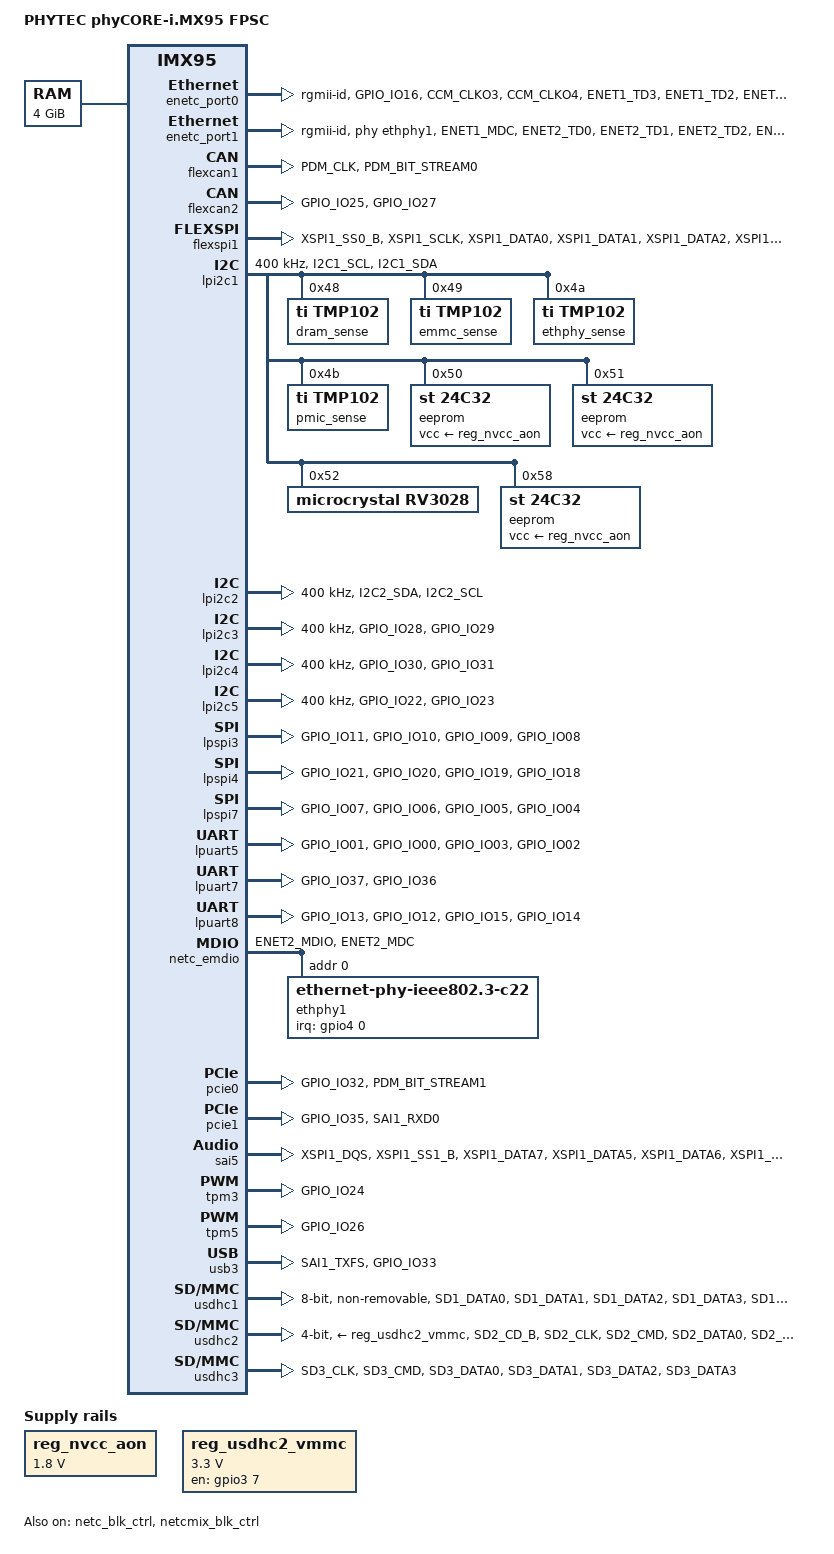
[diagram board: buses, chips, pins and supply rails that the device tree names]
// SPDX-License-Identifier: (GPL-2.0+ OR MIT)
/*
 * Copyright 2025 PHYTEC Messtechnik GmbH
 */

#include <dt-bindings/net/ti-dp83867.h>
#include "imx95.dtsi"

/ {
	model = "PHYTEC phyCORE-i.MX95 FPSC";
	compatible = "phytec,imx95-phycore-fpsc", "fsl,imx95";

	aliases {
		ethernet1 = &enetc_port1;
		i2c1 = &lpi2c2;
		i2c2 = &lpi2c5;
		i2c3 = &lpi2c3;
		i2c4 = &lpi2c4;
		i2c5 = &lpi2c1;
		rtc0 = &rv3028;
		rtc1 = &scmi_bbm;
	};

	memory@80000000 {
		device_type = "memory";
		reg = <0x00000000 0x80000000 0x00000001 0x00000000>;
	};

	reg_nvcc_aon: regulator-nvcc-aon {
		compatible = "regulator-fixed";
		regulator-always-on;
		regulator-boot-on;
		regulator-max-microvolt = <1800000>;
		regulator-min-microvolt = <1800000>;
		regulator-name = "VDD_IO";
	};

	reg_usdhc2_vmmc: regulator-usdhc2 {
		compatible = "regulator-fixed";
		off-on-delay-us = <12000>;
		pinctrl-0 = <&pinctrl_reg_usdhc2_vmmc>;
		pinctrl-names = "default";
		regulator-max-microvolt = <3300000>;
		regulator-min-microvolt = <3300000>;
		regulator-name = "VDDSW_SD2";
		gpio = <&gpio3 7 GPIO_ACTIVE_HIGH>;
		enable-active-high;
	};

	reserved-memory {
		ranges;
		#address-cells = <2>;
		#size-cells = <2>;

		linux,cma {
			compatible = "shared-dma-pool";
			alloc-ranges = <0 0x80000000 0 0x7f000000>;
			reusable;
			size = <0 0x3c000000>;
			linux,cma-default;
		};
	};
};

&enetc_port0 { /* FPSC RGMII2 */
	phy-mode = "rgmii-id";
	pinctrl-0 = <&pinctrl_enetc0>;
	pinctrl-names = "default";
};

&enetc_port1 {
	phy-handle = <&ethphy1>;
	phy-mode = "rgmii-id";
	pinctrl-0 = <&pinctrl_enetc1>;
	pinctrl-names = "default";
	status = "okay";
};

&flexcan1 { /* FPSC CAN1 */
	pinctrl-0 = <&pinctrl_flexcan1>;
	pinctrl-names = "default";
};

&flexcan2 { /* FPSC CAN2 */
	pinctrl-0 = <&pinctrl_flexcan2>;
	pinctrl-names = "default";
};

&flexspi1 { /* FPSC QSPI */
	pinctrl-0 = <&pinctrl_flexspi>;
	pinctrl-names = "default";
};

&gpio1 { /* FPSC GPIO */
	gpio-line-names = "", "", "", "", "GPIO2",
			  "GPIO1", "", "", "", "",
			  "PCIE1_nPERST", "USB1_PWR_EN", "GPIO3", "USB2_PWR_EN", "PCIE2_nPERST";
	pinctrl-0 = <&pinctrl_gpio1>;
	pinctrl-names = "default";
	status = "okay";
};

&gpio2 { /* FPSC GPIO */
	gpio-line-names = "", "", "", "", "",
			  "", "", "", "", "",
			  "", "", "", "", "",
			  "", "RGMII2_nINT", "GPIO4";
	pinctrl-0 = <&pinctrl_gpio2>;
	pinctrl-names = "default";
};

&gpio3 {
	gpio-line-names = "", "", "", "", "",
			  "", "", "SD2_RESET_B";
};

&gpio4 {
	gpio-line-names = "ENET2_nINT";
};

&gpio5 {
	gpio-line-names = "", "", "", "", "",
			  "", "", "", "", "",
			  "", "", "", "USB1_OC", "USB2_OC";
};

&lpi2c1 { /* FPSC I2C5 */
	clock-frequency = <400000>;
	pinctrl-0 = <&pinctrl_lpi2c1>;
	pinctrl-names = "default";
	status = "okay";

	dram_sense: temperature-sensor@48 {
		compatible = "ti,tmp102";
		reg = <0x48>;
		#thermal-sensor-cells = <1>;
	};

	emmc_sense: temperature-sensor@49 {
		compatible = "ti,tmp102";
		reg = <0x49>;
		#thermal-sensor-cells = <1>;
	};

	ethphy_sense: temperature-sensor@4a {
		compatible = "ti,tmp102";
		reg = <0x4a>;
		#thermal-sensor-cells = <1>;
	};

	pmic_sense: temperature-sensor@4b {
		compatible = "ti,tmp102";
		reg = <0x4b>;
		#thermal-sensor-cells = <1>;
	};

	/* User EEPROM */
	eeprom@50 {
		compatible = "st,24c32", "atmel,24c32";
		reg = <0x50>;
		pagesize = <32>;
		vcc-supply = <&reg_nvcc_aon>;
	};

	/* Factory EEPROM */
	eeprom@51 {
		compatible = "st,24c32", "atmel,24c32";
		reg = <0x51>;
		pagesize = <32>;
		vcc-supply = <&reg_nvcc_aon>;
	};

	rv3028: rtc@52 {
		compatible = "microcrystal,rv3028";
		reg = <0x52>;
	};

	/* User EEPROM ID page */
	eeprom@58 {
		compatible = "st,24c32", "atmel,24c32";
		reg = <0x58>;
		pagesize = <32>;
		vcc-supply = <&reg_nvcc_aon>;
	};
};

&lpi2c2 { /* FPSC I2C1 */
	clock-frequency = <400000>;
	pinctrl-0 = <&pinctrl_lpi2c2>;
	pinctrl-names = "default";
};

&lpi2c3 { /* FPSC I2C3 */
	clock-frequency = <400000>;
	pinctrl-0 = <&pinctrl_lpi2c3>;
	pinctrl-names = "default";
};

&lpi2c4 { /* FPSC I2C4 */
	clock-frequency = <400000>;
	pinctrl-0 = <&pinctrl_lpi2c4>;
	pinctrl-names = "default";
};

&lpi2c5 { /* FPSC I2C2 */
	clock-frequency = <400000>;
	pinctrl-0 = <&pinctrl_lpi2c5>;
	pinctrl-names = "default";
};

&lpspi3 { /* FPSC SPI2 */
	pinctrl-0 = <&pinctrl_lpspi3>;
	pinctrl-names = "default";
};

&lpspi4 { /* FPSC SPI3 */
	pinctrl-0 = <&pinctrl_lpspi4>;
	pinctrl-names = "default";
};

&lpspi7 { /* FPSC SPI1 */
	pinctrl-0 = <&pinctrl_lpspi7>;
	pinctrl-names = "default";
};

&lpuart5 { /* FPSC UART2 */
	pinctrl-0 = <&pinctrl_lpuart5>;
	pinctrl-names = "default";
};

&lpuart7 { /* FPSC UART3 */
	pinctrl-0 = <&pinctrl_lpuart7>;
	pinctrl-names = "default";
};

&lpuart8 { /* FPSC UART1 */
	pinctrl-0 = <&pinctrl_lpuart8>;
	pinctrl-names = "default";
};

&netc_blk_ctrl {
	status = "okay";
};

&netc_emdio { /* FPSC RGMII2 */
	pinctrl-0 = <&pinctrl_emdio>;
	pinctrl-names = "default";
	status = "okay";

	ethphy1: ethernet-phy@0 {
		compatible = "ethernet-phy-ieee802.3-c22";
		reg = <0x0>;
		interrupt-parent = <&gpio4>;
		interrupts = <0 IRQ_TYPE_LEVEL_LOW>;
		enet-phy-lane-no-swap;
		ti,clk-output-sel = <DP83867_CLK_O_SEL_OFF>;
		ti,fifo-depth = <DP83867_PHYCR_FIFO_DEPTH_4_B_NIB>;
		ti,rx-internal-delay = <DP83867_RGMIIDCTL_2_00_NS>;
		ti,tx-internal-delay = <DP83867_RGMIIDCTL_2_00_NS>;
	};
};

&netcmix_blk_ctrl {
	status = "okay";
};

&pcie0 { /* FPSC PCIE1 */
	pinctrl-0 = <&pinctrl_pcie0>;
	pinctrl-names = "default";
};

&pcie1 { /* FPSC PCIE2 */
	pinctrl-0 = <&pinctrl_pcie1>;
	pinctrl-names = "default";
};

&sai5 {	/* FPSC SAI1 */
	pinctrl-0 = <&pinctrl_sai5>;
	pintrc-names = "default";
};

&scmi_iomuxc {
	pinctrl_emdio: emdiogrp {
		fsl,pins = <
			IMX95_PAD_ENET2_MDIO__NETCMIX_TOP_NETC_MDIO	0x97e	/* RGMII2_MDIO */
			IMX95_PAD_ENET2_MDC__NETCMIX_TOP_NETC_MDC	0x502	/* RGMII2_MDC */
		>;
	};

	pinctrl_enetc0: enetc0grp {
		fsl,pins = <
			IMX95_PAD_GPIO_IO16__GPIO2_IO_BIT16			0x31e	/* RGMII2_nINT */
			IMX95_PAD_CCM_CLKO3__NETCMIX_TOP_NETC_TMR_1588_TRIG2	0x31e	/* RGMII2_EVENT_IN */
			IMX95_PAD_CCM_CLKO4__NETCMIX_TOP_NETC_TMR_1588_PP2	0x31e	/* RGMII2_EVENT_OUT */

			IMX95_PAD_ENET1_TD3__NETCMIX_TOP_ETH0_RGMII_TD3		0x57e	/* RGMII2_TX_3 */
			IMX95_PAD_ENET1_TD2__NETCMIX_TOP_ETH0_RGMII_TD2		0x57e	/* RGMII2_TX_2 */
			IMX95_PAD_ENET1_TD1__NETCMIX_TOP_ETH0_RGMII_TD1		0x57e	/* RGMII2_TX_1 */
			IMX95_PAD_ENET1_TD0__NETCMIX_TOP_ETH0_RGMII_TD0		0x57e	/* RGMII2_TX_0 */
			IMX95_PAD_ENET1_TX_CTL__NETCMIX_TOP_ETH0_RGMII_TX_CTL	0x57e	/* RGMII2_TX_CTL */
			IMX95_PAD_ENET1_TXC__NETCMIX_TOP_ETH0_RGMII_TX_CLK	0x58e	/* RGMII2_TXC */
			IMX95_PAD_ENET1_RD3__NETCMIX_TOP_ETH0_RGMII_RD3		0x57e	/* RGMII2_RX_3 */
			IMX95_PAD_ENET1_RD2__NETCMIX_TOP_ETH0_RGMII_RD2		0x57e	/* RGMII2_RX_2 */
			IMX95_PAD_ENET1_RD1__NETCMIX_TOP_ETH0_RGMII_RD1		0x57e	/* RGMII2_RX_1 */
			IMX95_PAD_ENET1_RD0__NETCMIX_TOP_ETH0_RGMII_RD0		0x57e	/* RGMII2_RX_0 */
			IMX95_PAD_ENET1_RX_CTL__NETCMIX_TOP_ETH0_RGMII_RX_CTL	0x57e	/* RGMII2_RX_CTL */
			IMX95_PAD_ENET1_RXC__NETCMIX_TOP_ETH0_RGMII_RX_CLK	0x58e	/* RGMII2_RXC */
		>;
	};

	pinctrl_enetc1: enetc1grp {
		fsl,pins = <
			IMX95_PAD_ENET1_MDC__GPIO4_IO_BIT0			0x31e
			IMX95_PAD_ENET2_TD0__NETCMIX_TOP_ETH1_RGMII_TD0		0x57e
			IMX95_PAD_ENET2_TD1__NETCMIX_TOP_ETH1_RGMII_TD1		0x57e
			IMX95_PAD_ENET2_TD2__NETCMIX_TOP_ETH1_RGMII_TD2		0x57e
			IMX95_PAD_ENET2_TD3__NETCMIX_TOP_ETH1_RGMII_TD3		0x57e
			IMX95_PAD_ENET2_TX_CTL__NETCMIX_TOP_ETH1_RGMII_TX_CTL	0x57e
			IMX95_PAD_ENET2_TXC__NETCMIX_TOP_ETH1_RGMII_TX_CLK	0x58e
			IMX95_PAD_ENET2_RD0__NETCMIX_TOP_ETH1_RGMII_RD0		0x57e
			IMX95_PAD_ENET2_RD1__NETCMIX_TOP_ETH1_RGMII_RD1		0x57e
			IMX95_PAD_ENET2_RD2__NETCMIX_TOP_ETH1_RGMII_RD2		0x57e
			IMX95_PAD_ENET2_RD3__NETCMIX_TOP_ETH1_RGMII_RD3		0x57e
			IMX95_PAD_ENET2_RX_CTL__NETCMIX_TOP_ETH1_RGMII_RX_CTL	0x57e
			IMX95_PAD_ENET2_RXC__NETCMIX_TOP_ETH1_RGMII_RX_CLK	0x58e
		>;
	};

	pinctrl_flexcan1: flexcan1grp {
		fsl,pins = <
			IMX95_PAD_PDM_CLK__AONMIX_TOP_CAN1_TX		0x51e	/* CAN1_TX */
			IMX95_PAD_PDM_BIT_STREAM0__AONMIX_TOP_CAN1_RX	0x51e	/* CAN1_RX */
		>;
	};

	pinctrl_flexcan2: flexcan2grp {
		fsl,pins = <
			IMX95_PAD_GPIO_IO25__CAN2_TX	0x51e	/* CAN2_TX */
			IMX95_PAD_GPIO_IO27__CAN2_RX	0x51e	/* CAN2_RX */
		>;
	};

	pinctrl_flexspi: flexspigrp {
		fsl,pins = <
			IMX95_PAD_XSPI1_SS0_B__FLEXSPI1_A_SS0_B		0x3fe	/* QSPI_CE */
			IMX95_PAD_XSPI1_SCLK__FLEXSPI1_A_SCLK		0x3fe	/* QSPI_CLK */
			IMX95_PAD_XSPI1_DATA0__FLEXSPI1_A_DATA_BIT0	0x3fe	/* QSPI_DATA_0 */
			IMX95_PAD_XSPI1_DATA1__FLEXSPI1_A_DATA_BIT1	0x3fe	/* QSPI_DATA_1 */
			IMX95_PAD_XSPI1_DATA2__FLEXSPI1_A_DATA_BIT2	0x3fe	/* QSPI_DATA_2 */
			IMX95_PAD_XSPI1_DATA3__FLEXSPI1_A_DATA_BIT3	0x3fe	/* QSPI_DATA_3 */
			IMX95_PAD_XSPI1_DQS__FLEXSPI1_A_DQS		0x3fe	/* QSPI_DQS */
		>;
	};

	pinctrl_gpio1: gpio1grp {
		fsl,pins = <
			IMX95_PAD_UART1_TXD__AONMIX_TOP_GPIO1_IO_BIT5	0x31e	/* GPIO1 */
			IMX95_PAD_UART1_RXD__AONMIX_TOP_GPIO1_IO_BIT4	0x31e	/* GPIO2 */
			IMX95_PAD_SAI1_TXC__AONMIX_TOP_GPIO1_IO_BIT12	0x31e	/* GPIO3 */
		>;
	};

	pinctrl_gpio2: gpio2grp {
		fsl,pins = <
			IMX95_PAD_GPIO_IO17__GPIO2_IO_BIT17	0x31e	/* GPIO4 */
		>;
	};

	pinctrl_lpi2c1: lpi2c1grp {
		fsl,pins = <
			IMX95_PAD_I2C1_SCL__AONMIX_TOP_LPI2C1_SCL	0x40000b9e	/* I2C5_SCL */
			IMX95_PAD_I2C1_SDA__AONMIX_TOP_LPI2C1_SDA	0x40000b9e	/* I2C5_SDA */
		>;
	};

	pinctrl_lpi2c2: lpi2c2grp {
		fsl,pins = <
			IMX95_PAD_I2C2_SDA__AONMIX_TOP_LPI2C2_SDA	0x40000b9e	/* I2C1_SDA_DNU */
			IMX95_PAD_I2C2_SCL__AONMIX_TOP_LPI2C2_SCL	0x40000b9e	/* I2C1_SCL_DNU */
		>;
	};

	pinctrl_lpi2c3: lpi2c3grp {
		fsl,pins = <
			IMX95_PAD_GPIO_IO28__LPI2C3_SDA 0x40000b9e	/* I2C3_SDA */
			IMX95_PAD_GPIO_IO29__LPI2C3_SCL 0x40000b9e	/* I2C3_SCL */
		>;
	};

	pinctrl_lpi2c4: lpi2c4grp {
		fsl,pins = <
			IMX95_PAD_GPIO_IO30__LPI2C4_SDA 0x40000b9e	/* I2C4_SDA */
			IMX95_PAD_GPIO_IO31__LPI2C4_SCL 0x40000b9e	/* I2C4_SDL */
		>;
	};

	pinctrl_lpi2c5: lpi2c5grp {
		fsl,pins = <
			IMX95_PAD_GPIO_IO22__LPI2C5_SDA	0x40000b9e	/* I2C2_SDA */
			IMX95_PAD_GPIO_IO23__LPI2C5_SCL 0x40000b9e	/* I2C2_SCL */
		>;
	};

	pinctrl_lpspi3: lpspi3grp {
		fsl,pins = <
			IMX95_PAD_GPIO_IO11__LPSPI3_SCK		0x51e	/* SPI2_SCLK */
			IMX95_PAD_GPIO_IO10__LPSPI3_SOUT	0x51e	/* SPI2_MOSI */
			IMX95_PAD_GPIO_IO09__LPSPI3_SIN		0x51e	/* SPI2_MISO */
			IMX95_PAD_GPIO_IO08__LPSPI3_PCS0	0x51e	/* SPI2_CS */
		>;
	};

	pinctrl_lpspi4: lpspi4grp {
		fsl,pins = <
			IMX95_PAD_GPIO_IO21__LPSPI4_SCK		0x51e	/* SPI3_SCLK */
			IMX95_PAD_GPIO_IO20__LPSPI4_SOUT	0x51e	/* SPI3_MOSI */
			IMX95_PAD_GPIO_IO19__LPSPI4_SIN		0x51e	/* SPI3_MISO */
			IMX95_PAD_GPIO_IO18__LPSPI4_PCS0	0x51e	/* SPI3_CS */
		>;
	};

	pinctrl_lpspi7: lpspi7grp {
		fsl,pins = <
			IMX95_PAD_GPIO_IO07__LPSPI7_SCK		0x51e	/* SPI1_SCLK */
			IMX95_PAD_GPIO_IO06__LPSPI7_SOUT	0x51e	/* SPI1_MOSI */
			IMX95_PAD_GPIO_IO05__LPSPI7_SIN		0x51e	/* SPI1_MISO */
			IMX95_PAD_GPIO_IO04__LPSPI7_PCS0	0x51e	/* SPI1_CS */
		>;
	};

	pinctrl_lpuart5: lpuart5grp {
		fsl,pins = <
			IMX95_PAD_GPIO_IO01__LPUART5_RX		0x51e	/* UART2_RXD */
			IMX95_PAD_GPIO_IO00__LPUART5_TX		0x51e	/* UART2_TXD */
			IMX95_PAD_GPIO_IO03__LPUART5_RTS_B	0x51e	/* UART2_RTS */
			IMX95_PAD_GPIO_IO02__LPUART5_CTS_B	0x51e	/* UART2_CTS */
		>;
	};

	pinctrl_lpuart7: lpuart7grp {
		fsl,pins = <
			IMX95_PAD_GPIO_IO37__LPUART7_RX	0x31e	/* UART3_RXD */
			IMX95_PAD_GPIO_IO36__LPUART7_TX	0x31e	/* UART3_TXD */
		>;
	};

	pinctrl_lpuart8: lpuart8grp {
		fsl,pins = <
			IMX95_PAD_GPIO_IO13__LPUART8_RX		0x51e	/* UART1_RXD */
			IMX95_PAD_GPIO_IO12__LPUART8_TX		0x51e	/* UART1_TXD */
			IMX95_PAD_GPIO_IO15__LPUART8_RTS_B	0x51e	/* UART1_RTS */
			IMX95_PAD_GPIO_IO14__LPUART8_CTS_B	0x51e	/* UART1_CTS */
		>;
	};

	pinctrl_pcie0: pcie0grp {
		fsl,pins = <
			IMX95_PAD_GPIO_IO32__HSIOMIX_TOP_PCIE1_CLKREQ_B		0x31e	/* PCIE1_nCLKREQ */
			IMX95_PAD_PDM_BIT_STREAM1__AONMIX_TOP_GPIO1_IO_BIT10	0x31e	/* PCIE1_nPERST */
		>;
	};

	pinctrl_pcie1: pcie1grp {
		fsl,pins = <
			IMX95_PAD_GPIO_IO35__HSIOMIX_TOP_PCIE2_CLKREQ_B	0x31e	/* PCIE2_nCLKREQ */
			IMX95_PAD_SAI1_RXD0__AONMIX_TOP_GPIO1_IO_BIT14	0x31e	/* PCIE2_nPERST */
		>;
	};

	pinctrl_reg_usdhc2_vmmc: regusdhc2vmmcgrp {
		fsl,pins = <
			IMX95_PAD_SD2_RESET_B__GPIO3_IO_BIT7	0x31e
		>;
	};

	pinctrl_sai5: sai5grp {
		fsl,pins = <
			IMX95_PAD_XSPI1_DQS__SAI5_RX_SYNC		0x51e	/* SAI1_RX_SYNC */
			IMX95_PAD_XSPI1_SS1_B__SAI5_RX_BCLK		0x51e	/* SAI1_RX_BCLK */
			IMX95_PAD_XSPI1_DATA7__SAI5_RX_DATA_BIT0	0x51e	/* SAI1_RX_DATA */
			IMX95_PAD_XSPI1_DATA5__SAI5_TX_SYNC		0x51e	/* SAI1_TX_SYNC */
			IMX95_PAD_XSPI1_DATA6__SAI5_TX_BCLK		0x51e	/* SAI1_TX_BCLK */
			IMX95_PAD_XSPI1_DATA4__SAI5_TX_DATA_BIT0	0x51e	/* SAI1_TX_DATA */
		>;
	};

	pinctrl_tpm3: tpm3grp {
	      fsl,pins = <
		      IMX95_PAD_GPIO_IO24__TPM3_CH3	0x51e	/* PWM1 */
	      >;
	};

	pinctrl_tpm5: tpm5grp {
	      fsl,pins = <
		      IMX95_PAD_GPIO_IO26__TPM5_CH3	0x51e	/* PWM2 */
	      >;
	};

	pinctrl_usbc: usbcgrp {
		fsl,pins = <
			IMX95_PAD_SAI1_TXFS__AONMIX_TOP_GPIO1_IO_BIT11	0x51e	/* USB1_PWR_EN */
			IMX95_PAD_GPIO_IO33__GPIO5_IO_BIT13		0x51e	/* USB1_OC */
		>;
	};

	pinctrl_usb2: usb2grp {
		fsl,pins = <
			IMX95_PAD_SAI1_TXD0__AONMIX_TOP_GPIO1_IO_BIT13	0x51e	/* USB2_PWR_EN */
			IMX95_PAD_GPIO_IO34__GPIO5_IO_BIT14		0x51e	/* USB2_OC */
		>;
	};

	pinctrl_usdhc1: usdhc1grp {
		fsl,pins = <
			IMX95_PAD_SD1_DATA0__USDHC1_DATA0		0x138e
			IMX95_PAD_SD1_DATA1__USDHC1_DATA1		0x138e
			IMX95_PAD_SD1_DATA2__USDHC1_DATA2		0x138e
			IMX95_PAD_SD1_DATA3__USDHC1_DATA3		0x138e
			IMX95_PAD_SD1_DATA4__USDHC1_DATA4		0x138e
			IMX95_PAD_SD1_DATA5__USDHC1_DATA5		0x138e
			IMX95_PAD_SD1_DATA6__USDHC1_DATA6		0x138e
			IMX95_PAD_SD1_DATA7__USDHC1_DATA7		0x138e
			IMX95_PAD_SD1_CMD__USDHC1_CMD			0x138e
			IMX95_PAD_SD1_CLK__USDHC1_CLK			0x158e
			IMX95_PAD_SD1_STROBE__USDHC1_STROBE		0x158e
		>;
	};

	pinctrl_usdhc1_100mhz: usdhc1-100mhzgrp {
		fsl,pins = <
			IMX95_PAD_SD1_DATA0__USDHC1_DATA0		0x138e
			IMX95_PAD_SD1_DATA1__USDHC1_DATA1		0x138e
			IMX95_PAD_SD1_DATA2__USDHC1_DATA2		0x138e
			IMX95_PAD_SD1_DATA3__USDHC1_DATA3		0x138e
			IMX95_PAD_SD1_DATA4__USDHC1_DATA4		0x138e
			IMX95_PAD_SD1_DATA5__USDHC1_DATA5		0x138e
			IMX95_PAD_SD1_DATA6__USDHC1_DATA6		0x138e
			IMX95_PAD_SD1_DATA7__USDHC1_DATA7		0x138e
			IMX95_PAD_SD1_CMD__USDHC1_CMD			0x138e
			IMX95_PAD_SD1_CLK__USDHC1_CLK			0x158e
			IMX95_PAD_SD1_STROBE__USDHC1_STROBE		0x158e
		>;
	};

	pinctrl_usdhc1_200mhz: usdhc1-200mhzgrp {
		fsl,pins = <
			IMX95_PAD_SD1_DATA0__USDHC1_DATA0		0x13fe
			IMX95_PAD_SD1_DATA1__USDHC1_DATA1		0x13fe
			IMX95_PAD_SD1_DATA2__USDHC1_DATA2		0x13fe
			IMX95_PAD_SD1_DATA3__USDHC1_DATA3		0x13fe
			IMX95_PAD_SD1_DATA4__USDHC1_DATA4		0x13fe
			IMX95_PAD_SD1_DATA5__USDHC1_DATA5		0x13fe
			IMX95_PAD_SD1_DATA6__USDHC1_DATA6		0x13fe
			IMX95_PAD_SD1_DATA7__USDHC1_DATA7		0x13fe
			IMX95_PAD_SD1_CMD__USDHC1_CMD			0x13fe
			IMX95_PAD_SD1_CLK__USDHC1_CLK			0x15fe
			IMX95_PAD_SD1_STROBE__USDHC1_STROBE		0x15fe
		>;
	};

	pinctrl_usdhc2: usdhc2grp {
		fsl,pins = <
			IMX95_PAD_SD2_CD_B__USDHC2_CD_B		0x31e	/* CD */
			IMX95_PAD_SD2_CLK__USDHC2_CLK		0x158e	/* CLK */
			IMX95_PAD_SD2_CMD__USDHC2_CMD		0x138e	/* CMD */
			IMX95_PAD_SD2_DATA0__USDHC2_DATA0	0x138e	/* DATA0 */
			IMX95_PAD_SD2_DATA1__USDHC2_DATA1	0x138e	/* DATA1 */
			IMX95_PAD_SD2_DATA2__USDHC2_DATA2	0x138e	/* DATA2 */
			IMX95_PAD_SD2_DATA3__USDHC2_DATA3	0x138e	/* DATA3 */
			IMX95_PAD_SD2_VSELECT__USDHC2_VSELECT	0x51e

		>;
	};

	pinctrl_usdhc2_100mhz: usdhc2-100mhzgrp {
		fsl,pins = <
			IMX95_PAD_SD2_CD_B__USDHC2_CD_B		0x31e	/* CD */
			IMX95_PAD_SD2_CLK__USDHC2_CLK		0x158e	/* CLK */
			IMX95_PAD_SD2_CMD__USDHC2_CMD		0x138e	/* CMD */
			IMX95_PAD_SD2_DATA0__USDHC2_DATA0	0x138e	/* DATA0 */
			IMX95_PAD_SD2_DATA1__USDHC2_DATA1	0x138e	/* DATA1 */
			IMX95_PAD_SD2_DATA2__USDHC2_DATA2	0x138e	/* DATA2 */
			IMX95_PAD_SD2_DATA3__USDHC2_DATA3	0x138e	/* DATA3 */
			IMX95_PAD_SD2_VSELECT__USDHC2_VSELECT	0x51e
		>;
	};

	pinctrl_usdhc2_200mhz: usdhc2-200mhzgrp {
		fsl,pins = <
			IMX95_PAD_SD2_CD_B__USDHC2_CD_B		0x31e	/* CD */
			IMX95_PAD_SD2_CLK__USDHC2_CLK		0x15fe	/* CLK */
			IMX95_PAD_SD2_CMD__USDHC2_CMD		0x13fe	/* CMD */
			IMX95_PAD_SD2_DATA0__USDHC2_DATA0	0x13fe	/* DATA0 */
			IMX95_PAD_SD2_DATA1__USDHC2_DATA1	0x13fe	/* DATA1 */
			IMX95_PAD_SD2_DATA2__USDHC2_DATA2	0x13fe	/* DATA2 */
			IMX95_PAD_SD2_DATA3__USDHC2_DATA3	0x13fe	/* DATA3 */
			IMX95_PAD_SD2_VSELECT__USDHC2_VSELECT	0x51e
		>;
	};

	pinctrl_usdhc3: usdhc3grp {
		fsl,pins = <
			IMX95_PAD_SD3_CLK__USDHC3_CLK		0x158e	/* SDIO_CLK */
			IMX95_PAD_SD3_CMD__USDHC3_CMD		0x138e	/* SDIO_CMD */
			IMX95_PAD_SD3_DATA0__USDHC3_DATA0	0x138e	/* SDIO_DATA0 */
			IMX95_PAD_SD3_DATA1__USDHC3_DATA1	0x138e	/* SDIO_DATA1 */
			IMX95_PAD_SD3_DATA2__USDHC3_DATA2	0x138e	/* SDIO_DATA2 */
			IMX95_PAD_SD3_DATA3__USDHC3_DATA3	0x138e	/* SDIO_DATA3 */
		>;
	};
};

&tpm3 { /* FPSC PWM1 */
	pinctrl-0 = <&pinctrl_tpm3>;
	pinctrl-names = "default";
};

&tpm5 {	/* FPSC PWM2 */
	pinctrl-0 = <&pinctrl_tpm5>;
	pinctrl-names = "default";
};

&usb3 { /* FPSC USB1 */
	pinctrl-0 = <&pinctrl_usbc>;
	pinctrl-names = "default";
};

&usdhc1 {
	bus-width = <8>;
	non-removable;
	no-sd;
	no-sdio;
	pinctrl-0 = <&pinctrl_usdhc1>;
	pinctrl-1 = <&pinctrl_usdhc1_100mhz>;
	pinctrl-2 = <&pinctrl_usdhc1_200mhz>;
	pinctrl-3 = <&pinctrl_usdhc1>;
	pinctrl-names = "default", "state_100mhz", "state_200mhz", "sleep";
	status = "okay";
};

&usdhc2 { /* FPSC SDCARD */
	bus-width = <4>;
	disable-wp;
	pinctrl-0 = <&pinctrl_usdhc2>;
	pinctrl-1 = <&pinctrl_usdhc2_100mhz>;
	pinctrl-2 = <&pinctrl_usdhc2_200mhz>;
	pinctrl-3 = <&pinctrl_usdhc2>;
	pinctrl-names = "default", "state_100mhz", "state_200mhz", "sleep";
	sd-uhs-sdr104;
	vmmc-supply = <&reg_usdhc2_vmmc>;
};

&usdhc3 { /* FPSC SDIO */
	pinctrl-0 = <&pinctrl_usdhc3>;
	pinctrl-names = "default";
};
